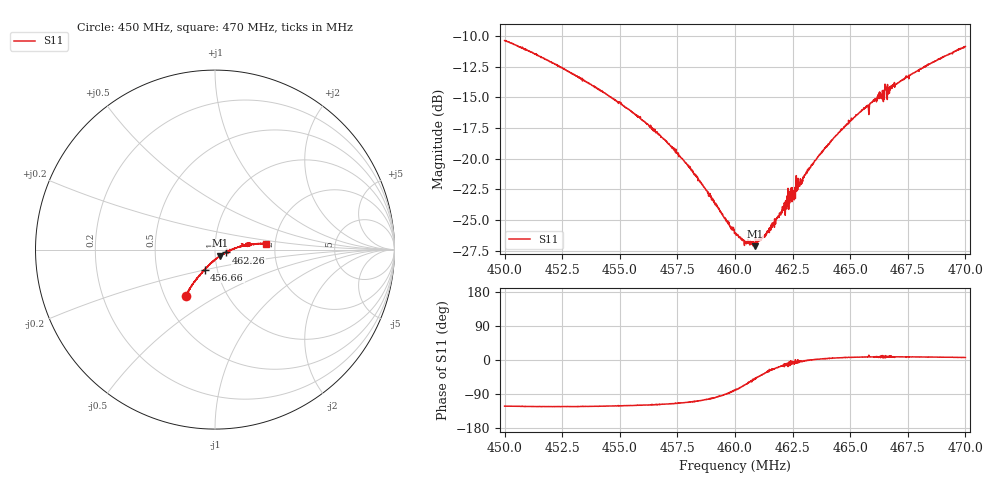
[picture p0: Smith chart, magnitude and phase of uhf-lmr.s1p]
! Calibrated averaged scanner-service zoom
# Hz S RI R 50
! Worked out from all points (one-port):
!   2001 points, 450 MHz to 470 MHz, reference 50 ohm
!   lowest |S11| = -27.1 dB at 460.87 MHz (marker M1), VSWR 1.09, Z = 52.7 - j3.61 ohm
!   |S11| at or under -10 dB: start of sweep to end of sweep
!   S11 on the Smith chart (normalised r, x): 450 MHz: 0.64, -0.36; 456.66 MHz: 0.87, -0.20; 462.26 MHz: 1.13, -0.04; 470 MHz: 1.79, +0.13
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4.5e8  -0.1595 -0.2574
4.5115e8  -0.1462 -0.2298
4.525e8  -0.1273 -0.1971
4.55e8  -0.0876 -0.1463
4.5581e8  -0.0735 -0.129
4.5666e8  -0.0579 -0.1116
4.575e8  -0.0435 -0.0959
4.5837e8  -0.0258 -0.0798
4.6e8  0.00835 -0.0491
4.6042e8  0.0188 -0.0419
4.6087e8  0.0277 -0.0342
4.6139e8  0.0434 -0.0256
4.6226e8  0.0621 -0.0158
4.6239e8  0.0732 -0.00601
4.625e8  0.072 -0.0045
4.6289e8  0.0813 -0.00475
4.6311e8  0.0879 -0.00278
4.6366e8  0.1035 0.00419
4.65e8  0.1415 0.0169
4.6568e8  0.1614 0.0224
4.6589e8  0.1668 0.0239
4.6619e8  0.1759 0.0256
4.664e8  0.1883 0.0217
4.6659e8  0.1902 0.031
4.667e8  0.1834 0.0235
4.675e8  0.214 0.0304
4.6846e8  0.2415 0.0333
4.7e8  0.2845 0.0329
